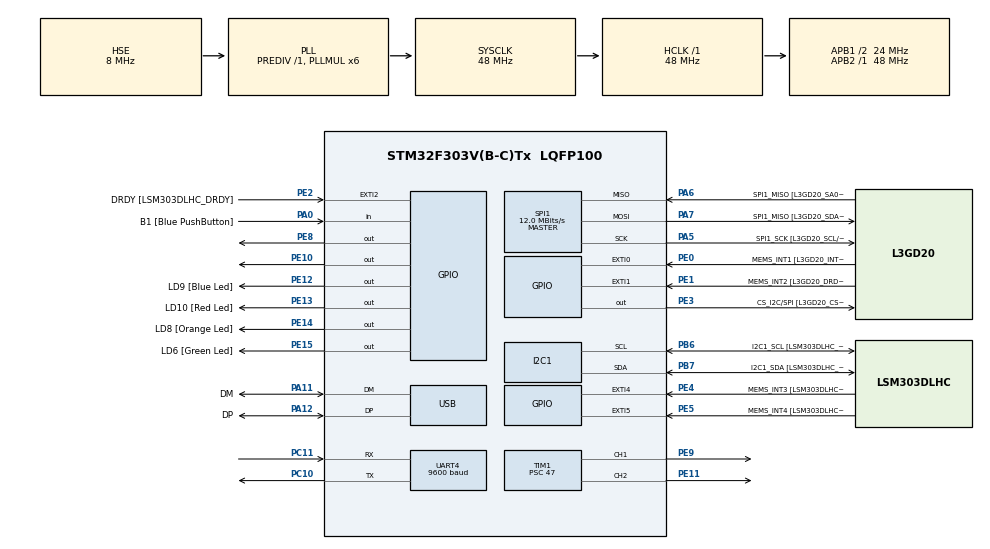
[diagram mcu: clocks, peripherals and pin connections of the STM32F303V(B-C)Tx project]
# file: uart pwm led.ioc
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I2C1.Timing=0x00201D2B
I2C1.Timing-I2C=0x2000090E
Mcu.Family=STM32F3
Mcu.Name=STM32F303V(B-C)Tx
Mcu.Package=LQFP100
NVIC.PriorityGroup=NVIC_PRIORITYGROUP_0
PA0.GPIO_Label=B1 [Blue PushButton]
PA0.Signal=GPIO_Input
PA11.GPIO_Label=DM
PA11.Mode=Device
PA11.Signal=USB_DM
PA12.GPIO_Label=DP
PA12.Mode=Device
PA12.Signal=USB_DP
PA13.GPIO_Label=SWDIO
PA13.Mode=Serial_Wire
PA13.Signal=SYS_JTMS-SWDIO
PA14.GPIO_Label=SWCLK
PA14.Mode=Serial_Wire
PA14.Signal=SYS_JTCK-SWCLK
PA5.GPIO_Label=SPI1_SCK [L3GD20_SCL/SPC]
PA5.Mode=Full_Duplex_Master
PA5.Signal=SPI1_SCK
PA6.GPIO_Label=SPI1_MISO [L3GD20_SA0/SDO]
PA6.Mode=Full_Duplex_Master
PA6.Signal=SPI1_MISO
PA7.GPIO_Label=SPI1_MISO [L3GD20_SDA/SDI/SDO]
PA7.Mode=Full_Duplex_Master
PA7.Signal=SPI1_MOSI
PB3.GPIO_Label=SWO
PB3.Signal=SYS_JTDO-TRACESWO
PB6.GPIO_Label=I2C1_SCL [LSM303DLHC_SCL]
PB6.GPIO_Pu=GPIO_PULLUP
PB6.Mode=I2C
PB6.Signal=I2C1_SCL
PB7.GPIO_Label=I2C1_SDA [LSM303DLHC_SDA]
PB7.GPIO_Pu=GPIO_PULLUP
PB7.Mode=I2C
PB7.Signal=I2C1_SDA
PC10.Mode=Asynchronous
PC10.Signal=UART4_TX
PC11.Mode=Asynchronous
PC11.Signal=UART4_RX
PC14-OSC32_IN.GPIO_Label=OSC32_IN
PC14-OSC32_IN.Signal=RCC_OSC32_IN
PC15-OSC32_OUT.GPIO_Label=OSC32_OUT
PC15-OSC32_OUT.Signal=RCC_OSC32_OUT
PE0.GPIO_Label=MEMS_INT1 [L3GD20_INT1]
PE0.GPIO_ModeDefaultEXTI=GPIO_MODE_EVT_RISING
PE0.Signal=GPXTI0
PE1.GPIO_Label=MEMS_INT2 [L3GD20_DRDY/INT2]
PE1.GPIO_ModeDefaultEXTI=GPIO_MODE_EVT_RISING
PE1.Signal=GPXTI1
PE10.Signal=GPIO_Output
PE11.Signal=S_TIM1_CH2
PE12.GPIO_Label=LD9 [Blue Led]
PE12.Signal=GPIO_Output
PE13.GPIO_Label=LD10 [Red Led]
PE13.Signal=GPIO_Output
PE14.GPIO_Label=LD8 [Orange Led]
PE14.Signal=GPIO_Output
PE15.GPIO_Label=LD6 [Green Led]
PE15.Signal=GPIO_Output
PE2.GPIO_Label=DRDY [LSM303DLHC_DRDY]
PE2.GPIO_ModeDefaultEXTI=GPIO_MODE_EVT_RISING
PE2.Signal=GPXTI2
PE3.GPIO_Label=CS_I2C/SPI [L3GD20_CS_I2C/SPI]
PE3.Signal=GPIO_Output
PE4.GPIO_Label=MEMS_INT3 [LSM303DLHC_INT1]
PE4.GPIO_ModeDefaultEXTI=GPIO_MODE_EVT_RISING
PE4.Signal=GPXTI4
PE5.GPIO_Label=MEMS_INT4 [LSM303DLHC_INT2]
PE5.GPIO_ModeDefaultEXTI=GPIO_MODE_EVT_RISING
PE5.Signal=GPXTI5
PE8.Signal=GPIO_Output
PE9.Signal=S_TIM1_CH1
PF0-OSC_IN.GPIO_Label=OSC_IN
PF0-OSC_IN.Mode=HSE-External-Oscillator
PF0-OSC_IN.Signal=RCC_OSC_IN
PF1-OSC_OUT.GPIO_Label=OSC_OUT
PF1-OSC_OUT.Mode=HSE-External-Oscillator
PF1-OSC_OUT.Signal=RCC_OSC_OUT
ProjectManager.HeapSize=0x200
ProjectManager.StackSize=0x400
ProjectManager.TargetToolchain=STM32CubeIDE
RCC.AHBFreq_Value=48000000
RCC.APB1CLKDivider=RCC_HCLK_DIV2
RCC.APB1Freq_Value=24000000
RCC.APB1TimFreq_Value=48000000
RCC.APB2Freq_Value=48000000
RCC.APB2TimFreq_Value=48000000
RCC.CortexFreq_Value=48000000
RCC.HCLKFreq_Value=48000000
RCC.HSE_VALUE=8000000
RCC.HSI_VALUE=8000000
RCC.LSE_VALUE=32768
RCC.PLLMUL=RCC_PLL_MUL6
RCC.SYSCLKFreq_VALUE=48000000
RCC.SYSCLKSourceVirtual=RCC_SYSCLKSOURCE_PLLCLK
RCC.USBFreq_Value=48000000
SH.S_TIM1_CH1.0=TIM1_CH1,Output Compare1 CH1
SH.S_TIM1_CH2.0=TIM1_CH2,Output Compare2 CH2
SPI1.BaudRatePrescaler=SPI_BAUDRATEPRESCALER_4
SPI1.BaudRatePrescaler-Full_Duplex_Master=SPI_BAUDRATEPRESCALER_2
SPI1.CalculateBaudRate=12.0 MBits/s
SPI1.CalculateBaudRate-Full_Duplex_Master=24.0 MBits/s
SPI1.Direction=SPI_DIRECTION_2LINES
SPI1.Mode=SPI_MODE_MASTER
SPI1.Mode-Full_Duplex_Master=SPI_MODE_MASTER
SPI1.VirtualType=VM_MASTER
TIM1.Channel-Output\ Compare1\ CH1=TIM_CHANNEL_1
TIM1.Channel-Output\ Compare2\ CH2=TIM_CHANNEL_2
TIM1.Period=999
TIM1.Prescaler=47
UART4.BaudRate=9600
VP_TIM1_VS_ClockSourceINT.Mode=Internal
board=STM32F3DISCOVERY

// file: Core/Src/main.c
/* USER CODE BEGIN Header */
/**
 ******************************************************************************
 * @file           : main.c
 * @brief          : Main program body
 ******************************************************************************
 * @attention
 *
 * Copyright (c) 2026 STMicroelectronics.
 * All rights reserved.
 *
 * This software is licensed under terms that can be found in the LICENSE file
 * in the root directory of this software component.
 * If no LICENSE file comes with this software, it is provided AS-IS.
 *
 ******************************************************************************
 */
/* USER CODE END Header */

/* USER CODE BEGIN Includes */
#include "main.h"
#include<stdlib.h>
#include <stdio.h>
#include <string.h>
/* USER CODE END Includes */

I2C_HandleTypeDef hi2c1;

SPI_HandleTypeDef hspi1;

TIM_HandleTypeDef htim1;

UART_HandleTypeDef huart4;

PCD_HandleTypeDef hpcd_USB_FS;

void SystemClock_Config(void);
static void MX_GPIO_Init(void);
static void MX_I2C1_Init(void);
static void MX_SPI1_Init(void);
static void MX_TIM1_Init(void);
static void MX_UART4_Init(void);
static void MX_USB_PCD_Init(void);

int main(void)
{

	/* USER CODE BEGIN 1 */
	int parlaklik = 0;   // LED'in anlık parlaklık seviyesi
	int artis_miktari = 5;
	uint32_t zaman_sayaci=0;
	uint8_t onceki_buton_durum = 0;
	uint8_t mod = 0;
	int led_fazi = 0;
	int titreme_sayaci =0;
	/* USER CODE END 1 */

	/* MCU Configuration--------------------------------------------------------*/

	/* Reset of all peripherals, Initializes the Flash interface and the Systick. */
	HAL_Init();

	/* Configure the system clock */
	SystemClock_Config();

	/* Initialize all configured peripherals */
	MX_GPIO_Init();
	MX_I2C1_Init();
	MX_SPI1_Init();
	MX_TIM1_Init();
	MX_UART4_Init();
	MX_USB_PCD_Init();
	/* USER CODE BEGIN 2 */
	HAL_TIM_PWM_Start(&htim1, TIM_CHANNEL_1);
	HAL_TIM_PWM_Start(&htim1, TIM_CHANNEL_2);
	/* USER CODE END 2 */

	/* Infinite loop */
	while (1)
	{

		/* USER CODE BEGIN 3 */

		if (HAL_GPIO_ReadPin(GPIOA, GPIO_PIN_0) == 1 && onceki_buton_durum == 0)
		{
			mod = !mod; // Her basışta modu değiştir
			zaman_sayaci = 0;
			led_fazi = 0;
			parlaklik = 0;
			titreme_sayaci = 0;

			// Mod değiştiğinde diğer LED'leri temizlemek (söndürmek) için:
			__HAL_TIM_SET_COMPARE(&htim1, TIM_CHANNEL_1, 0);
			__HAL_TIM_SET_COMPARE(&htim1, TIM_CHANNEL_2, 0);
		}
		onceki_buton_durum = HAL_GPIO_ReadPin(GPIOA, GPIO_PIN_0);

		// MODLARA GÖRE ÇALIŞTIRMA
		if (mod == 0)
		{
			// --- FAZ 0: YAVAŞÇA YANMA ---
			if (led_fazi == 0) {
				parlaklik += artis_miktari;
				__HAL_TIM_SET_COMPARE(&htim1, TIM_CHANNEL_1, parlaklik);

				if(parlaklik >= 500) {
					parlaklik = 500;
					titreme_sayaci = 0;
					led_fazi = 1; // 1. faza geç
				}
			}
			// --- FAZ 1: RASTGELE TİTREME ---
			else if (led_fazi == 1) {
				int rastgele = 500 + rand() % 500;
				__HAL_TIM_SET_COMPARE(&htim1, TIM_CHANNEL_1, rastgele);
				titreme_sayaci++;

				if(titreme_sayaci > 50) {
					led_fazi = 2; // 2. faza geç
					parlaklik = 500;
				}
			}
			// --- FAZ 2: YAVAŞÇA SÖNME ---
			else if (led_fazi == 2) {
				parlaklik -= artis_miktari;
				__HAL_TIM_SET_COMPARE(&htim1, TIM_CHANNEL_1, parlaklik);

				if (parlaklik <= 0) {
					parlaklik = 0;      // Sınırı sabitle
					led_fazi = 0;       // Animasyonu baştan başlat
				}
			}
		}
		// --- SADECE 2. LED (CH2) YANIP SÖNSÜN ---
		else
		{
			zaman_sayaci++;
			if (zaman_sayaci <= 60)
				__HAL_TIM_SET_COMPARE(&htim1, TIM_CHANNEL_2, 900);
			else if (zaman_sayaci <= 100)
				__HAL_TIM_SET_COMPARE(&htim1, TIM_CHANNEL_2, 0);
			else
				zaman_sayaci = 0;
		}

		HAL_Delay(10);

	}
	/* USER CODE END 3 */
}

void SystemClock_Config(void)
{
	RCC_OscInitTypeDef RCC_OscInitStruct = {0};
	RCC_ClkInitTypeDef RCC_ClkInitStruct = {0};
	RCC_PeriphCLKInitTypeDef PeriphClkInit = {0};

	/** Initializes the RCC Oscillators according to the specified parameters
	 * in the RCC_OscInitTypeDef structure.
	 */
	RCC_OscInitStruct.OscillatorType = RCC_OSCILLATORTYPE_HSI|RCC_OSCILLATORTYPE_HSE;
	RCC_OscInitStruct.HSEState = RCC_HSE_ON;
	RCC_OscInitStruct.HSEPredivValue = RCC_HSE_PREDIV_DIV1;
	RCC_OscInitStruct.HSIState = RCC_HSI_ON;
	RCC_OscInitStruct.HSICalibrationValue = RCC_HSICALIBRATION_DEFAULT;
	RCC_OscInitStruct.PLL.PLLState = RCC_PLL_ON;
	RCC_OscInitStruct.PLL.PLLSource = RCC_PLLSOURCE_HSE;
	RCC_OscInitStruct.PLL.PLLMUL = RCC_PLL_MUL6;
	if (HAL_RCC_OscConfig(&RCC_OscInitStruct) != HAL_OK)
	{
		Error_Handler();
	}

	/** Initializes the CPU, AHB and APB buses clocks
	 */
	RCC_ClkInitStruct.ClockType = RCC_CLOCKTYPE_HCLK|RCC_CLOCKTYPE_SYSCLK
			|RCC_CLOCKTYPE_PCLK1|RCC_CLOCKTYPE_PCLK2;
	RCC_ClkInitStruct.SYSCLKSource = RCC_SYSCLKSOURCE_PLLCLK;
	RCC_ClkInitStruct.AHBCLKDivider = RCC_SYSCLK_DIV1;
	RCC_ClkInitStruct.APB1CLKDivider = RCC_HCLK_DIV2;
	RCC_ClkInitStruct.APB2CLKDivider = RCC_HCLK_DIV1;

	if (HAL_RCC_ClockConfig(&RCC_ClkInitStruct, FLASH_LATENCY_1) != HAL_OK)
	{
		Error_Handler();
	}
	PeriphClkInit.PeriphClockSelection = RCC_PERIPHCLK_USB|RCC_PERIPHCLK_UART4
			|RCC_PERIPHCLK_I2C1|RCC_PERIPHCLK_TIM1;
	PeriphClkInit.Uart4ClockSelection = RCC_UART4CLKSOURCE_PCLK1;
	PeriphClkInit.I2c1ClockSelection = RCC_I2C1CLKSOURCE_HSI;
	PeriphClkInit.USBClockSelection = RCC_USBCLKSOURCE_PLL;
	PeriphClkInit.Tim1ClockSelection = RCC_TIM1CLK_HCLK;
	if (HAL_RCCEx_PeriphCLKConfig(&PeriphClkInit) != HAL_OK)
	{
		Error_Handler();
	}
}

static void MX_I2C1_Init(void)
{

	hi2c1.Instance = I2C1;
	hi2c1.Init.Timing = 0x00201D2B;
	hi2c1.Init.OwnAddress1 = 0;
	hi2c1.Init.AddressingMode = I2C_ADDRESSINGMODE_7BIT;
	hi2c1.Init.DualAddressMode = I2C_DUALADDRESS_DISABLE;
	hi2c1.Init.OwnAddress2 = 0;
	hi2c1.Init.OwnAddress2Masks = I2C_OA2_NOMASK;
	hi2c1.Init.GeneralCallMode = I2C_GENERALCALL_DISABLE;
	hi2c1.Init.NoStretchMode = I2C_NOSTRETCH_DISABLE;
	if (HAL_I2C_Init(&hi2c1) != HAL_OK)
	{
		Error_Handler();
	}

	/** Configure Analogue filter
	 */
	if (HAL_I2CEx_ConfigAnalogFilter(&hi2c1, I2C_ANALOGFILTER_ENABLE) != HAL_OK)
	{
		Error_Handler();
	}

	/** Configure Digital filter
	 */
	if (HAL_I2CEx_ConfigDigitalFilter(&hi2c1, 0) != HAL_OK)
	{
		Error_Handler();
	}

}

static void MX_SPI1_Init(void)
{

	/* SPI1 parameter configuration*/
	hspi1.Instance = SPI1;
	hspi1.Init.Mode = SPI_MODE_MASTER;
	hspi1.Init.Direction = SPI_DIRECTION_2LINES;
	hspi1.Init.DataSize = SPI_DATASIZE_4BIT;
	hspi1.Init.CLKPolarity = SPI_POLARITY_LOW;
	hspi1.Init.CLKPhase = SPI_PHASE_1EDGE;
	hspi1.Init.NSS = SPI_NSS_SOFT;
	hspi1.Init.BaudRatePrescaler = SPI_BAUDRATEPRESCALER_4;
	hspi1.Init.FirstBit = SPI_FIRSTBIT_MSB;
	hspi1.Init.TIMode = SPI_TIMODE_DISABLE;
	hspi1.Init.CRCCalculation = SPI_CRCCALCULATION_DISABLE;
	hspi1.Init.CRCPolynomial = 7;
	hspi1.Init.CRCLength = SPI_CRC_LENGTH_DATASIZE;
	hspi1.Init.NSSPMode = SPI_NSS_PULSE_ENABLE;
	if (HAL_SPI_Init(&hspi1) != HAL_OK)
	{
		Error_Handler();
	}

}

static void MX_TIM1_Init(void)
{

	TIM_ClockConfigTypeDef sClockSourceConfig = {0};
	TIM_MasterConfigTypeDef sMasterConfig = {0};
	TIM_OC_InitTypeDef sConfigOC = {0};
	TIM_BreakDeadTimeConfigTypeDef sBreakDeadTimeConfig = {0};

	htim1.Instance = TIM1;
	htim1.Init.Prescaler = 0;
	htim1.Init.CounterMode = TIM_COUNTERMODE_UP;
	htim1.Init.Period = 65535;
	htim1.Init.ClockDivision = TIM_CLOCKDIVISION_DIV1;
	htim1.Init.RepetitionCounter = 0;
	htim1.Init.AutoReloadPreload = TIM_AUTORELOAD_PRELOAD_DISABLE;
	if (HAL_TIM_Base_Init(&htim1) != HAL_OK)
	{
		Error_Handler();
	}
	sClockSourceConfig.ClockSource = TIM_CLOCKSOURCE_INTERNAL;
	if (HAL_TIM_ConfigClockSource(&htim1, &sClockSourceConfig) != HAL_OK)
	{
		Error_Handler();
	}
	if (HAL_TIM_OC_Init(&htim1) != HAL_OK)
	{
		Error_Handler();
	}
	sMasterConfig.MasterOutputTrigger = TIM_TRGO_RESET;
	sMasterConfig.MasterOutputTrigger2 = TIM_TRGO2_RESET;
	sMasterConfig.MasterSlaveMode = TIM_MASTERSLAVEMODE_DISABLE;
	if (HAL_TIMEx_MasterConfigSynchronization(&htim1, &sMasterConfig) != HAL_OK)
	{
		Error_Handler();
	}
	sConfigOC.OCMode = TIM_OCMODE_TIMING;
	sConfigOC.Pulse = 0;
	sConfigOC.OCPolarity = TIM_OCPOLARITY_HIGH;
	sConfigOC.OCNPolarity = TIM_OCNPOLARITY_HIGH;
	sConfigOC.OCFastMode = TIM_OCFAST_DISABLE;
	sConfigOC.OCIdleState = TIM_OCIDLESTATE_RESET;
	sConfigOC.OCNIdleState = TIM_OCNIDLESTATE_RESET;
	if (HAL_TIM_OC_ConfigChannel(&htim1, &sConfigOC, TIM_CHANNEL_1) != HAL_OK)
	{
		Error_Handler();
	}
	if (HAL_TIM_OC_ConfigChannel(&htim1, &sConfigOC, TIM_CHANNEL_2) != HAL_OK)
	{
		Error_Handler();
	}
	sBreakDeadTimeConfig.OffStateRunMode = TIM_OSSR_DISABLE;
	sBreakDeadTimeConfig.OffStateIDLEMode = TIM_OSSI_DISABLE;
	sBreakDeadTimeConfig.LockLevel = TIM_LOCKLEVEL_OFF;
	sBreakDeadTimeConfig.DeadTime = 0;
	sBreakDeadTimeConfig.BreakState = TIM_BREAK_DISABLE;
	sBreakDeadTimeConfig.BreakPolarity = TIM_BREAKPOLARITY_HIGH;
	sBreakDeadTimeConfig.BreakFilter = 0;
	sBreakDeadTimeConfig.Break2State = TIM_BREAK2_DISABLE;
	sBreakDeadTimeConfig.Break2Polarity = TIM_BREAK2POLARITY_HIGH;
	sBreakDeadTimeConfig.Break2Filter = 0;
	sBreakDeadTimeConfig.AutomaticOutput = TIM_AUTOMATICOUTPUT_DISABLE;
	if (HAL_TIMEx_ConfigBreakDeadTime(&htim1, &sBreakDeadTimeConfig) != HAL_OK)
	{
		Error_Handler();
	}
	HAL_TIM_MspPostInit(&htim1);

}

static void MX_UART4_Init(void)
{

	huart4.Instance = UART4;
	huart4.Init.BaudRate = 9600;
	huart4.Init.WordLength = UART_WORDLENGTH_8B;
	huart4.Init.StopBits = UART_STOPBITS_1;
	huart4.Init.Parity = UART_PARITY_NONE;
	huart4.Init.Mode = UART_MODE_TX_RX;
	huart4.Init.HwFlowCtl = UART_HWCONTROL_NONE;
	huart4.Init.OverSampling = UART_OVERSAMPLING_16;
	huart4.Init.OneBitSampling = UART_ONE_BIT_SAMPLE_DISABLE;
	huart4.AdvancedInit.AdvFeatureInit = UART_ADVFEATURE_NO_INIT;
	if (HAL_UART_Init(&huart4) != HAL_OK)
	{
		Error_Handler();
	}

}

static void MX_USB_PCD_Init(void)
{

	hpcd_USB_FS.Instance = USB;
	hpcd_USB_FS.Init.dev_endpoints = 8;
	hpcd_USB_FS.Init.speed = PCD_SPEED_FULL;
	hpcd_USB_FS.Init.phy_itface = PCD_PHY_EMBEDDED;
	hpcd_USB_FS.Init.low_power_enable = DISABLE;
	hpcd_USB_FS.Init.battery_charging_enable = DISABLE;
	if (HAL_PCD_Init(&hpcd_USB_FS) != HAL_OK)
	{
		Error_Handler();
	}

}

static void MX_GPIO_Init(void)
{
	GPIO_InitTypeDef GPIO_InitStruct = {0};

	/* GPIO Ports Clock Enable */
	__HAL_RCC_GPIOE_CLK_ENABLE();
	__HAL_RCC_GPIOC_CLK_ENABLE();
	__HAL_RCC_GPIOF_CLK_ENABLE();
	__HAL_RCC_GPIOA_CLK_ENABLE();
	__HAL_RCC_GPIOB_CLK_ENABLE();

	/*Configure GPIO pin Output Level */
	HAL_GPIO_WritePin(GPIOE, CS_I2C_SPI_Pin|GPIO_PIN_8|GPIO_PIN_10|LD9_Pin
			|LD10_Pin|LD8_Pin|LD6_Pin, GPIO_PIN_RESET);

	/*Configure GPIO pins : DRDY_Pin MEMS_INT3_Pin MEMS_INT4_Pin MEMS_INT1_Pin
                           MEMS_INT2_Pin */
	GPIO_InitStruct.Pin = DRDY_Pin|MEMS_INT3_Pin|MEMS_INT4_Pin|MEMS_INT1_Pin
			|MEMS_INT2_Pin;
	GPIO_InitStruct.Mode = GPIO_MODE_EVT_RISING;
	GPIO_InitStruct.Pull = GPIO_NOPULL;
	HAL_GPIO_Init(GPIOE, &GPIO_InitStruct);

	/*Configure GPIO pins : CS_I2C_SPI_Pin PE8 PE10 LD9_Pin
                           LD10_Pin LD8_Pin LD6_Pin */
	GPIO_InitStruct.Pin = CS_I2C_SPI_Pin|GPIO_PIN_8|GPIO_PIN_10|LD9_Pin
			|LD10_Pin|LD8_Pin|LD6_Pin;
	GPIO_InitStruct.Mode = GPIO_MODE_OUTPUT_PP;
	GPIO_InitStruct.Pull = GPIO_NOPULL;
	GPIO_InitStruct.Speed = GPIO_SPEED_FREQ_LOW;
	HAL_GPIO_Init(GPIOE, &GPIO_InitStruct);

	/*Configure GPIO pin : B1_Pin */
	GPIO_InitStruct.Pin = B1_Pin;
	GPIO_InitStruct.Mode = GPIO_MODE_INPUT;
	GPIO_InitStruct.Pull = GPIO_NOPULL;
	HAL_GPIO_Init(B1_GPIO_Port, &GPIO_InitStruct);

}

void Error_Handler(void)
{
	__disable_irq();
	while (1)
	{
	}
}
